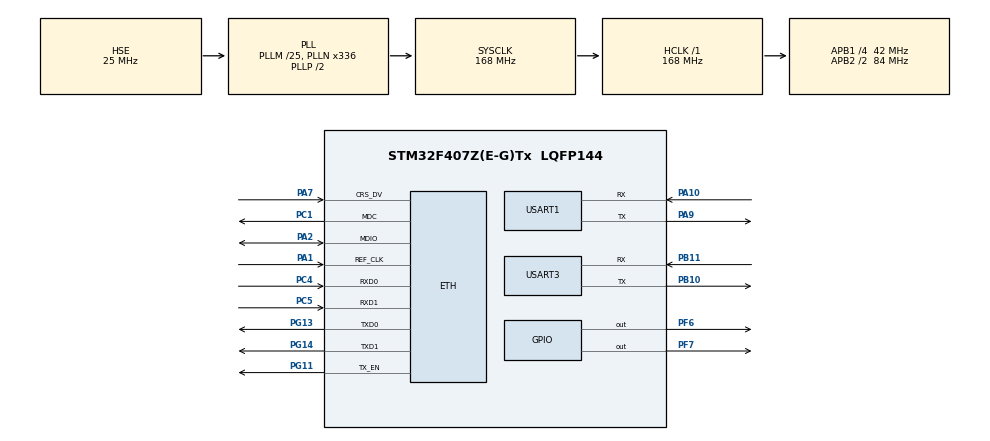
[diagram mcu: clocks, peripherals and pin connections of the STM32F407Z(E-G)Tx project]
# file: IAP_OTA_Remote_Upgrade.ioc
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Dma.Request0=USART3_RX
Dma.Request1=USART3_TX
Dma.USART3_RX.0.Direction=DMA_PERIPH_TO_MEMORY
Dma.USART3_RX.0.FIFOMode=DMA_FIFOMODE_DISABLE
Dma.USART3_RX.0.Instance=DMA1_Stream1
Dma.USART3_RX.0.MemDataAlignment=DMA_MDATAALIGN_BYTE
Dma.USART3_RX.0.MemInc=DMA_MINC_ENABLE
Dma.USART3_RX.0.Mode=DMA_CIRCULAR
Dma.USART3_RX.0.PeriphDataAlignment=DMA_PDATAALIGN_BYTE
Dma.USART3_RX.0.PeriphInc=DMA_PINC_DISABLE
Dma.USART3_RX.0.Priority=DMA_PRIORITY_HIGH
Dma.USART3_TX.1.Direction=DMA_MEMORY_TO_PERIPH
Dma.USART3_TX.1.FIFOMode=DMA_FIFOMODE_DISABLE
Dma.USART3_TX.1.Instance=DMA1_Stream3
Dma.USART3_TX.1.MemDataAlignment=DMA_MDATAALIGN_BYTE
Dma.USART3_TX.1.MemInc=DMA_MINC_ENABLE
Dma.USART3_TX.1.Mode=DMA_NORMAL
Dma.USART3_TX.1.PeriphDataAlignment=DMA_PDATAALIGN_BYTE
Dma.USART3_TX.1.PeriphInc=DMA_PINC_DISABLE
Dma.USART3_TX.1.Priority=DMA_PRIORITY_MEDIUM
ETH.MACAddr=02\:00\:00\:00\:00\:01
ETH.MediaInterface=HAL_ETH_RMII_MODE
LWIP.BSP.number=1
LWIP.GATEWAY_ADDRESS=192.168.001.001
LWIP.IP_ADDRESS=192.168.001.200
LWIP.LWIP_DHCP=0
LWIP.NETMASK_ADDRESS=255.255.255.000
LWIP.Version=v2.1.2_Cube
LWIP0.BSP.STBoard=false
LWIP0.BSP.api=BSP_COMPONENT_DRIVER
LWIP0.BSP.component=LAN8742
LWIP0.BSP.instance=LAN8742
LWIP0.BSP.name=Driver_PHY
LWIP0.BSP.semaphore=S_LAN8742
LWIP0.BSP.solution=LAN8742
Mcu.Family=STM32F4
Mcu.Name=STM32F407Z(E-G)Tx
Mcu.Package=LQFP144
NVIC.DMA1_Stream1_IRQn=true\:0\:0\:false\:false\:true\:false\:true\:true
NVIC.DMA1_Stream3_IRQn=true\:0\:0\:false\:false\:true\:false\:true\:true
NVIC.ETH_IRQn=true\:5\:0\:true\:false\:true\:true\:true\:true
NVIC.PriorityGroup=NVIC_PRIORITYGROUP_4
NVIC.TIM1_UP_TIM10_IRQn=true\:15\:0\:false\:false\:true\:false\:true\:true
NVIC.TimeBase=TIM1_UP_TIM10_IRQn
NVIC.TimeBaseIP=TIM1
NVIC.USART1_IRQn=true\:5\:0\:true\:false\:true\:true\:true\:true
PA1.Mode=RMII
PA1.Signal=ETH_REF_CLK
PA10.Mode=Asynchronous
PA10.Signal=USART1_RX
PA13.Mode=Serial_Wire
PA13.Signal=SYS_JTMS-SWDIO
PA14.Mode=Serial_Wire
PA14.Signal=SYS_JTCK-SWCLK
PA2.Mode=RMII
PA2.Signal=ETH_MDIO
PA7.Mode=RMII
PA7.Signal=ETH_CRS_DV
PA9.Mode=Asynchronous
PA9.Signal=USART1_TX
PB10.Mode=Asynchronous
PB10.Signal=USART3_TX
PB11.Mode=Asynchronous
PB11.Signal=USART3_RX
PC1.Mode=RMII
PC1.Signal=ETH_MDC
PC4.Mode=RMII
PC4.Signal=ETH_RXD0
PC5.Mode=RMII
PC5.Signal=ETH_RXD1
PF6.Signal=GPIO_Output
PF7.Signal=GPIO_Output
PG11.Mode=RMII
PG11.Signal=ETH_TX_EN
PG13.Mode=RMII
PG13.Signal=ETH_TXD0
PG14.Mode=RMII
PG14.Signal=ETH_TXD1
PH0-OSC_IN.Mode=HSE-External-Oscillator
PH0-OSC_IN.Signal=RCC_OSC_IN
PH1-OSC_OUT.Mode=HSE-External-Oscillator
PH1-OSC_OUT.Signal=RCC_OSC_OUT
ProjectManager.HeapSize=0x800
ProjectManager.StackSize=0x800
ProjectManager.TargetToolchain=MDK-ARM V5.32
RCC.48MHZClocksFreq_Value=84000000
RCC.AHBFreq_Value=168000000
RCC.APB1CLKDivider=RCC_HCLK_DIV4
RCC.APB1Freq_Value=42000000
RCC.APB1TimFreq_Value=84000000
RCC.APB2CLKDivider=RCC_HCLK_DIV2
RCC.APB2Freq_Value=84000000
RCC.APB2TimFreq_Value=168000000
RCC.CortexFreq_Value=168000000
RCC.HCLKFreq_Value=168000000
RCC.HSE_VALUE=25000000
RCC.HSI_VALUE=16000000
RCC.LSE_VALUE=32768
RCC.PLLM=25
RCC.PLLN=336
RCC.PLLSourceVirtual=RCC_PLLSOURCE_HSE
RCC.SYSCLKFreq_VALUE=168000000
RCC.SYSCLKSource=RCC_SYSCLKSOURCE_PLLCLK
RCC.VCOOutputFreq_Value=336000000
USART1.VirtualMode=VM_ASYNC
USART3.VirtualMode=VM_ASYNC
VP_CRC_VS_CRC.Mode=CRC_Activate
VP_LWIP_VS_Enabled.Mode=Enabled
VP_SYS_VS_tim1.Mode=TIM1
board=custom

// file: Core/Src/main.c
/* USER CODE BEGIN Header */
/**
  ******************************************************************************
  * @file           : main.c
  * @brief          : Main program body
  ******************************************************************************
  * @attention
  *
  * Copyright (c) 2026 STMicroelectronics.
  * All rights reserved.
  *
  * This software is licensed under terms that can be found in the LICENSE file
  * in the root directory of this software component.
  * If no LICENSE file comes with this software, it is provided AS-IS.
  *
  ******************************************************************************
  */
/* USER CODE END Header */
#include "main.h"
#include "crc.h"
#include "dma.h"
#include "lwip.h"
#include "usart.h"
#include "gpio.h"

/* USER CODE BEGIN Includes */
#include <stdio.h>
#include "protocol.h"
#include "flash_manage.h"
#include "crc16.h"
#include "protocol_handler.h"
#include "usart.h"
#include "eth_tcp_server.h"
#include "lwip/netif.h"
/* USER CODE END Includes */

/* USER CODE BEGIN PV */

extern uint8_t g_uart_rx_byte;
volatile uint8_t g_stay_in_bootloader = 0U;
volatile uint8_t g_update_finish = 0U;
volatile UpdateMethod_t g_update_method = no_update;
static ProtocolRxBuffer_t g_eth_protocol_rx_buf;
static uint8_t s_eth_prev_connected = 0U;
/* USER CODE END PV */

void SystemClock_Config(void);
/* USER CODE BEGIN PFP */
static uint8_t Boot_CopySelectedAppToRun(void);
static uint8_t Boot_IsRunAppValid(void);
static void Boot_JumpToRunApp(void);
static uint8_t Boot_CopyRunAndJump(FlashParam_t *param, const char *copy_fail_log);
static void Eth_OnBytes(const uint8_t *data, uint16_t len);
/* USER CODE END PFP */

/* USER CODE BEGIN 0 */
static uint8_t Boot_CopySelectedAppToRun(void)
{
    uint8_t ret;
    FlashParam_t param;
    AppArea_t target = APP_AREA_NONE;
    uint32_t src_addr = 0U;
    uint32_t copy_len = 0U;

    if (Param_Load(&param) != 0U) {
        return 1U;
    }

    if (param.boot_select == APP_AREA_A && param.app_a_status == APP_STATUS_VALID) {
        target = APP_AREA_A;
    } else if (param.boot_select == APP_AREA_B && param.app_b_status == APP_STATUS_VALID) {
        target = APP_AREA_B;
    } else if (param.app_a_status == APP_STATUS_VALID) {
        target = APP_AREA_A;
    } else if (param.app_b_status == APP_STATUS_VALID) {
        target = APP_AREA_B;
    } else {
        printf("Error: No valid application found.\r\n");
        return 1U;
    }

    if (target == APP_AREA_A) {
        src_addr = APP_A_SECTOR_START_ADDR;
        copy_len = param.app_a_size;
        param.run_app_version = param.app_a_version;
        param.run_app_size = param.app_a_size;
        param.run_app_crc32 = param.app_a_crc32;
    } else {
        src_addr = APP_B_SECTOR_START_ADDR;
        copy_len = param.app_b_size;
        param.run_app_version = param.app_b_version;
        param.run_app_size = param.app_b_size;
        param.run_app_crc32 = param.app_b_crc32;
    }

    if (copy_len == 0U || (copy_len % 4U) != 0U) {
        return 1U;
    }

    ret = Flash_Copy(RUN_SECTOR_START_ADDR, src_addr, copy_len);
    if (ret != 0U) {
        return ret;
    }

    param.run_app_status = APP_STATUS_VALID;
    param.boot_select = target;
    if (Param_Save(&param) != 0U) {
        return 1U;
    }

    return 0U;
}

static uint8_t Boot_IsRunAppValid(void)
{
    uint32_t msp = *(volatile uint32_t *)RUN_SECTOR_START_ADDR;
    uint32_t reset = *(volatile uint32_t *)(RUN_SECTOR_START_ADDR + 4U);

    if ((msp & 0x2FFE0000U) != 0x20000000U) {
        return 1U;
    }

    if (reset < RUN_SECTOR_START_ADDR || reset > RUN_SECTOR_END_ADDR) {
        return 1U;
    }

    FlashParam_t param;
    if (Param_Load(&param) == 0U) {
        if (param.run_app_size > 0U && (param.run_app_size % 4U) == 0U &&
            (RUN_SECTOR_START_ADDR + param.run_app_size - 1U) <= RUN_SECTOR_END_ADDR) {
            extern CRC_HandleTypeDef hcrc;
            __HAL_CRC_DR_RESET(&hcrc);
            uint32_t crc = HAL_CRC_Calculate(&hcrc, (uint32_t *)RUN_SECTOR_START_ADDR, param.run_app_size / 4U);
            if (crc != param.run_app_crc32) {
                return 1U;
            }
        }
    }

    return 0U;
}

static void Boot_JumpToRunApp(void)
{
    uint32_t app_stack = *(volatile uint32_t *)RUN_SECTOR_START_ADDR;
    uint32_t app_reset = *(volatile uint32_t *)(RUN_SECTOR_START_ADDR + 4U);

    typedef void (*pFunc)(void);
    pFunc Jump = (pFunc)app_reset;

    __disable_irq();

    SysTick->CTRL = 0U;
    SysTick->LOAD = 0U;
    SysTick->VAL = 0U;

    // 可选：清NVIC使能/挂起，避免遗留中断影响App
    for (uint32_t i = 0; i < 8; i++) {
        NVIC->ICER[i] = 0xFFFFFFFFU;
        NVIC->ICPR[i] = 0xFFFFFFFFU;
    }

    // 关键：把向量表切到RunApp
    SCB->VTOR = RUN_SECTOR_START_ADDR;

    __set_MSP(app_stack);
    Jump();

    while (1) { }
}

  static uint8_t Boot_CopyRunAndJump(FlashParam_t *param, const char *copy_fail_log)
  {
    if (param == NULL) {
      return 1U;
    }

    if (Boot_CopySelectedAppToRun() == 0U) {
      printf("    Copy to RunApp success...\r\n");
      if (Boot_IsRunAppValid() == 0U) {
        Boot_JumpToRunApp();
        return 0U;
      }

      param->run_app_status = APP_STATUS_INVALID;
      if (Param_Save(param) != 0U) {
        printf("    Save param failed...\r\n");
        return 1U;
      }
      printf("    RunApp invalid/CRC failed/Vector invalid...\r\n");
    } else {
      printf("%s", copy_fail_log);
    }

    return 1U;
  }
/* 以太网接收回调
extern struct netif gnetif;
extern uint8_t IP_ADDRESS[4];
extern uint8_t NETMASK_ADDRESS[4];
extern uint8_t GATEWAY_ADDRESS[4];

static void Print_NetInfo(void)
{
    printf(">>> NET:\r\n");
    printf("    IP:      %u.%u.%u.%u\r\n", IP_ADDRESS[0], IP_ADDRESS[1], IP_ADDRESS[2], IP_ADDRESS[3]);
    printf("    NETMASK: %u.%u.%u.%u\r\n", NETMASK_ADDRESS[0], NETMASK_ADDRESS[1], NETMASK_ADDRESS[2], NETMASK_ADDRESS[3]);
    printf("    GATEWAY: %u.%u.%u.%u\r\n", GATEWAY_ADDRESS[0], GATEWAY_ADDRESS[1], GATEWAY_ADDRESS[2], GATEWAY_ADDRESS[3]);
    printf("    MAC:     %02X:%02X:%02X:%02X:%02X:%02X\r\n",
           gnetif.hwaddr[0], gnetif.hwaddr[1], gnetif.hwaddr[2],
           gnetif.hwaddr[3], gnetif.hwaddr[4], gnetif.hwaddr[5]);
    printf("\r\n");
}
*/

	static uint8_t Run_App_Update(AppArea_t App){
			FlashParam_t param;
      if (Param_Load(&param) != 0U) {
          printf("    Load param failed...\r\n");
          return 1U;
      }
			param.boot_select = App;
      if (Param_Save(&param) != 0U){
					printf("    Save param failed...\r\n");
          return 1U;
			}
      return Boot_CopyRunAndJump(&param, "    Copy to RunApp failed...\r\n");
	}

  static void Eth_OnBytes(const uint8_t *data, uint16_t len)
  {
    if (data == NULL || len == 0U) {
      return;
    }

    for (uint16_t i = 0; i < len; i++) {
      uint8_t result = Protocol_ReceiveByte(&g_eth_protocol_rx_buf, data[i]);

      if (result == 1U) {
        ProtocolFrame_t frame;
        if (Protocol_Unpack(g_eth_protocol_rx_buf.buffer, g_eth_protocol_rx_buf.index, &frame) == 0U) {
          Protocol_HandleFrame(&frame, by_eth);
        }
        Protocol_InitRxBuffer(&g_eth_protocol_rx_buf);
      } else if (result == 2U) {
        Protocol_InitRxBuffer(&g_eth_protocol_rx_buf);
      }
    }
  }
/* USER CODE END 0 */

int main(void)
{

  /* MCU Configuration--------------------------------------------------------*/

  /* Reset of all peripherals, Initializes the Flash interface and the Systick. */
  HAL_Init();

  /* Configure the system clock */
  SystemClock_Config();

  /* Initialize all configured peripherals */
  MX_GPIO_Init();
  MX_DMA_Init();
  MX_USART1_UART_Init();
  MX_CRC_Init();
  MX_LWIP_Init();
  MX_USART3_UART_Init();
  /* USER CODE BEGIN 2 */
    Protocol_InitRxBuffer(&g_eth_protocol_rx_buf);
    EthTcpServer_Init(5000, Eth_OnBytes);
    s_eth_prev_connected = EthTcpServer_IsConnected();
    // Print_NetInfo();
    printf("\r\n\r\n");
    printf("=========================================\r\n");
    printf("=      STM32F407 IAP/OTA Bootloader     =\r\n");
    printf("=========================================\r\n");
    printf("\r\n");

    // 打印系统信息
    printf(">>> System Information:\r\n");
    printf("    MCU:       STM32F407ZGT6\r\n");
    printf("    SYSCLK:    %du MHz\r\n", HAL_RCC_GetSysClockFreq() / 1000000);
    printf("    Build:     %s %s\r\n", __DATE__, __TIME__);
    printf("\r\n");

    // 初始化协议处理模块
    Protocol_Handler_Init();
    printf("\r\n");

    // 打印Flash分区信息
    Flash_PrintPartitionInfo();

		// 获取参数区参数
    FlashParam_t param;
    // 加载参数
    if (Param_Load(&param) != 0U) {
				printf("Start param init \r\n");
				Param_Init(&param);
				printf("Start param save \r\n");
				Param_Save(&param);
		}

    // 启动串口接收中断
    printf(">>> Starting UART receive interrupt...\r\n");
    HAL_UART_Receive_IT(&huart1, &g_uart_rx_byte, 1);
    printf(">>> UART interrupt enabled\r\n");
    printf("\r\n");

    printf(">>> Protocol Test Started...\r\n");

    int tick = HAL_GetTick();
    while((HAL_GetTick() - tick) < 10000) {
        if (g_stay_in_bootloader) {
          printf("    Stay in Bootloader permanent wait mode\r\n");
          break;
        }
        MX_LWIP_Process();
        EthTcpServer_Poll();
    }

    if (!g_stay_in_bootloader) {
				printf("    Jump to RunApp Start...\r\n");

        if (((param.app_a_status == APP_STATUS_VALID) && (param.app_a_version > param.run_app_version) ))
        {
						Run_App_Update(APP_AREA_A);
        }
				else if((param.app_b_status == APP_STATUS_VALID) && (param.app_b_version > param.run_app_version)){
						Run_App_Update(APP_AREA_B);
				}

        if (Param_Load(&param) != 0U) {
            printf("    Reload param failed...\r\n");
        }

        if (param.run_app_status == APP_STATUS_VALID) {
            if (Boot_IsRunAppValid() == 0U) {
								printf("    run_app is runnable , ready to jump to runapp...\r\n");
                Boot_JumpToRunApp();
            } else {
                param.run_app_status = APP_STATUS_INVALID;
								if (Param_Save(&param) != 0U) {
										printf("    Save param failed...\r\n");
                }
                printf("    RunApp invalid, check if app a or b is valid...\r\n");
            }
        }
				// 若未选择App区域 或 RunApp状态无效 则尝试复制选中的App到RunApp
				else if (param.boot_select == APP_AREA_NONE || param.run_app_status == APP_STATUS_INVALID) {
            printf("    Boot select none/run invalid, start to copy to RunApp...\r\n");
            Boot_CopyRunAndJump(&param, "    Copy to RunApp failed, stay in Bootloader...\r\n");
        }
    }

    if (g_stay_in_bootloader) {
        printf("    Stay in Bootloader permanent wait mode\r\n");
    }

		printf("timeout");
  /* USER CODE END 2 */

  /* Infinite loop */
  while (1)
  {

    /* USER CODE BEGIN 3 */
    MX_LWIP_Process();
    EthTcpServer_Poll();

    uint8_t eth_now_connected = EthTcpServer_IsConnected();
    if ((s_eth_prev_connected == 1U) && (eth_now_connected == 0U)) {
      Protocol_InitRxBuffer(&g_eth_protocol_rx_buf);
      Protocol_Handler_OnTransportClosed(by_eth);
      printf("[ETH] client disconnected, rx state reset\r\n");
    }
    s_eth_prev_connected = eth_now_connected;

    if (g_update_finish){
				Param_Load(&param);
				if (param.run_app_status == APP_STATUS_VALID){
					Boot_JumpToRunApp();
				}
        else if (Boot_CopySelectedAppToRun() == 0U){
					Boot_JumpToRunApp();
				}
		}
  }
  /* USER CODE END 3 */
}

void SystemClock_Config(void)
{
  RCC_OscInitTypeDef RCC_OscInitStruct = {0};
  RCC_ClkInitTypeDef RCC_ClkInitStruct = {0};

  /** Configure the main internal regulator output voltage
  */
  __HAL_RCC_PWR_CLK_ENABLE();
  __HAL_PWR_VOLTAGESCALING_CONFIG(PWR_REGULATOR_VOLTAGE_SCALE1);

  /** Initializes the RCC Oscillators according to the specified parameters
  * in the RCC_OscInitTypeDef structure.
  */
  RCC_OscInitStruct.OscillatorType = RCC_OSCILLATORTYPE_HSE;
  RCC_OscInitStruct.HSEState = RCC_HSE_ON;
  RCC_OscInitStruct.PLL.PLLState = RCC_PLL_ON;
  RCC_OscInitStruct.PLL.PLLSource = RCC_PLLSOURCE_HSE;
  RCC_OscInitStruct.PLL.PLLM = 25;
  RCC_OscInitStruct.PLL.PLLN = 336;
  RCC_OscInitStruct.PLL.PLLP = RCC_PLLP_DIV2;
  RCC_OscInitStruct.PLL.PLLQ = 4;
  if (HAL_RCC_OscConfig(&RCC_OscInitStruct) != HAL_OK)
  {
    Error_Handler();
  }

  /** Initializes the CPU, AHB and APB buses clocks
  */
  RCC_ClkInitStruct.ClockType = RCC_CLOCKTYPE_HCLK|RCC_CLOCKTYPE_SYSCLK
                              |RCC_CLOCKTYPE_PCLK1|RCC_CLOCKTYPE_PCLK2;
  RCC_ClkInitStruct.SYSCLKSource = RCC_SYSCLKSOURCE_PLLCLK;
  RCC_ClkInitStruct.AHBCLKDivider = RCC_SYSCLK_DIV1;
  RCC_ClkInitStruct.APB1CLKDivider = RCC_HCLK_DIV4;
  RCC_ClkInitStruct.APB2CLKDivider = RCC_HCLK_DIV2;

  if (HAL_RCC_ClockConfig(&RCC_ClkInitStruct, FLASH_LATENCY_5) != HAL_OK)
  {
    Error_Handler();
  }
}

void HAL_TIM_PeriodElapsedCallback(TIM_HandleTypeDef *htim)
{
  if (htim->Instance == TIM1)
  {
    HAL_IncTick();
  }
}

void Error_Handler(void)
{
  __disable_irq();
  while (1)
  {
  }
}
